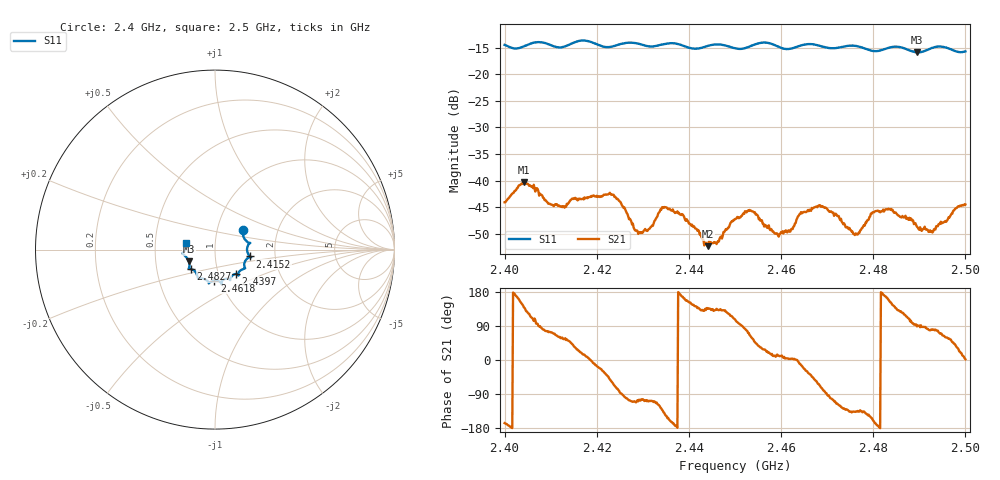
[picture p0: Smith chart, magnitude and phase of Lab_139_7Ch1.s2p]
# Hz S RI R 50
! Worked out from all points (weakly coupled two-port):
!   601 points, 2.4 GHz to 2.5 GHz, reference 50 ohm
!   highest |S21| = -40.25 dB at 2.4042 GHz (marker M1); lowest = -52.3 dB at 2.4442 GHz (marker M2)
!   lowest |S11| = -15.9 dB at 2.4895 GHz (marker M3), VSWR 1.38, Z = 37 - j5.01 ohm
!   |S11| at or under -10 dB: start of sweep to end of sweep
!   S12 and S22 are empty: the file has one direction only
!   S11 on the Smith chart (normalised r, x): 2.4 GHz: 1.33, +0.30; 2.4152 GHz: 1.48, -0.12; 2.4397 GHz: 1.21, -0.34; 2.4618 GHz: 0.94, -0.33; 2.4827 GHz: 0.75, -0.17; 2.5 GHz: 0.72, +0.06
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2.4e9  0.1549 0.1073  -0.00608 -0.00146  0 0  0 0
2.404167e9  0.1764 0.0458  -0.00736 0.00635  0 0  0 0
2.410167e9  0.1846 0.0245  0.00174 0.0057  0 0  0 0
2.415167e9  0.1953 -0.0383  0.00562 0.0039  0 0  0 0
2.416667e9  0.2023 -0.0431  0.00632 0.00218  0 0  0 0
2.423167e9  0.1631 -0.0786  0.00412 -0.0061  0 0  0 0
2.4295e9  0.1574 -0.1081  -0.00096 -0.00312  0 0  0 0
2.433333e9  0.1295 -0.1338  -0.00229 -0.00433  0 0  0 0
2.439667e9  0.1169 -0.1356  -0.00387 0.00173  0 0  0 0
2.444167e9  0.0851 -0.1639  -0.00171 0.00171  0 0  0 0
2.45e9  0.0656 -0.1623  -0.00128 0.00416  0 0  0 0
2.453333e9  0.0373 -0.1792  0.00231 0.00468  0 0  0 0
2.459e9  0.0308 -0.1817  0.00314 0.000627  0 0  0 0
2.461833e9  -0.0034 -0.1728  0.0033 0.00017  0 0  0 0
2.466667e9  -0.0347 -0.1882  0.00399 -0.00384  0 0  0 0
2.4695e9  -0.0437 -0.1736  0.000586 -0.0055  0 0  0 0
2.476167e9  -0.0957 -0.1573  -0.00232 -0.00218  0 0  0 0
2.482667e9  -0.1349 -0.1083  -0.00526 0.00111  0 0  0 0
2.483333e9  -0.14 -0.108  -0.00508 0.00198  0 0  0 0
2.4895e9  -0.1456 -0.066  8.26e-05 0.00368  0 0  0 0
2.493e9  -0.1758 -0.0267  0.000565 0.00327  0 0  0 0
2.5e9  -0.1592 0.0385  0.00596 0.000208  0 0  0 0
